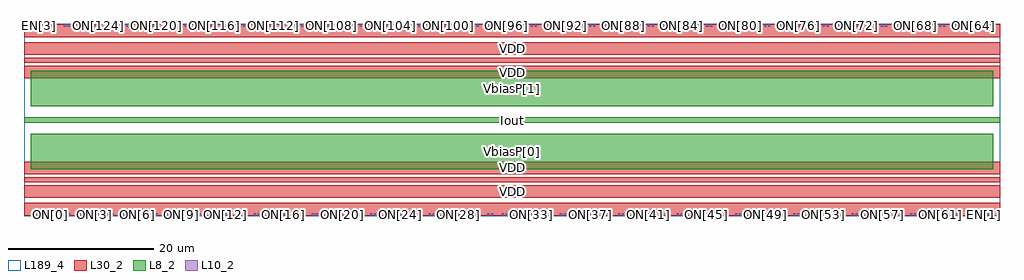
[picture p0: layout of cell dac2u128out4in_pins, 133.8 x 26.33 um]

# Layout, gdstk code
import gdstk
lib = gdstk.Library(unit=1e-6, precision=1e-09)
def R(c, l, rs):  # rectangles x0, y0, x1, y1
    for r in rs: c.add(gdstk.rectangle(r[:2], r[2:], *l))
L8_2 = (8, 2)
L10_2 = (10, 2)
L30_2 = (30, 2)
L189_4 = (189, 4)

dac2u128out4in_pins = lib.new_cell('dac2u128out4in_pins')
R(dac2u128out4in_pins, L8_2, [(0.9,6.31,132.9,11.24), (0,12.745,133.8,13.445), (0.9,14.95,132.9,19.88)])
R(dac2u128out4in_pins, L10_2, [(1.48,0,1.77,0.29), (2.03,0,2.32,0.29), (3.48,0,3.77,0.29), (4.03,0,4.32,0.29), (5.48,0,5.77,0.29), (6.03,0,6.32,0.29), (7.48,0,7.77,0.29), (8.03,0,8.32,0.29), (9.48,0,9.77,0.29), (10.03,0,10.32,0.29), (11.48,0,11.77,0.29), (12.03,0,12.32,0.29), (13.48,0,13.77,0.29), (14.03,0,14.32,0.29), (15.48,0,15.77,0.29), (16.03,0,16.32,0.29), (17.48,0,17.77,0.29), (18.03,0,18.32,0.29), (19.48,0,19.77,0.29), (20.03,0,20.32,0.29), (21.48,0,21.77,0.29), (22.03,0,22.32,0.29), (23.48,0,23.77,0.29), (24.03,0,24.32,0.29), (25.48,0,25.77,0.29), (26.03,0,26.32,0.29), (27.48,0,27.77,0.29), (28.03,0,28.32,0.29), (29.48,0,29.77,0.29), (30.03,0,30.32,0.29), (31.48,0,31.77,0.29), (32.03,0,32.32,0.29), (33.48,0,33.77,0.29), (34.03,0,34.32,0.29), (35.48,0,35.77,0.29), (36.03,0,36.32,0.29), (37.48,0,37.77,0.29), (38.03,0,38.32,0.29), (39.48,0,39.77,0.29), (40.03,0,40.32,0.29), (41.48,0,41.77,0.29), (42.03,0,42.32,0.29), (43.48,0,43.77,0.29), (44.03,0,44.32,0.29), (45.48,0,45.77,0.29), (46.03,0,46.32,0.29), (47.48,0,47.77,0.29), (48.03,0,48.32,0.29), (49.48,0,49.77,0.29), (50.03,0,50.32,0.29), (51.48,0,51.77,0.29), (52.03,0,52.32,0.29), (53.48,0,53.77,0.29), (54.03,0,54.32,0.29), (55.48,0,55.77,0.29), (56.03,0,56.32,0.29), (57.48,0,57.77,0.29), (58.03,0,58.32,0.29), (59.48,0,59.77,0.29), (60.03,0,60.32,0.29), (61.48,0,61.77,0.29), (62.03,0,62.32,0.29), (63.48,0,63.77,0.29), (64.03,0,64.32,0.29), (65.48,0,65.77,0.29), (66.03,0,66.32,0.29), (67.48,0,67.77,0.29), (68.03,0,68.32,0.29), (69.48,0,69.77,0.29), (70.03,0,70.32,0.29), (71.48,0,71.77,0.29), (72.03,0,72.32,0.29), (73.48,0,73.77,0.29), (74.03,0,74.32,0.29), (75.48,0,75.77,0.29), (76.03,0,76.32,0.29), (77.48,0,77.77,0.29), (78.03,0,78.32,0.29), (79.48,0,79.77,0.29), (80.03,0,80.32,0.29), (81.48,0,81.77,0.29), (82.03,0,82.32,0.29), (83.48,0,83.77,0.29), (84.03,0,84.32,0.29), (85.48,0,85.77,0.29), (86.03,0,86.32,0.29), (87.48,0,87.77,0.29), (88.03,0,88.32,0.29), (89.48,0,89.77,0.29), (90.03,0,90.32,0.29), (91.48,0,91.77,0.29), (92.03,0,92.32,0.29), (93.48,0,93.77,0.29), (94.03,0,94.32,0.29), (95.48,0,95.77,0.29), (96.03,0,96.32,0.29), (97.48,0,97.77,0.29), (98.03,0,98.32,0.29), (99.48,0,99.77,0.29), (100.03,0,100.32,0.29), (101.48,0,101.77,0.29), (102.03,0,102.32,0.29), (103.48,0,103.77,0.29), (104.03,0,104.32,0.29), (105.48,0,105.77,0.29), (106.03,0,106.32,0.29), (107.48,0,107.77,0.29), (108.03,0,108.32,0.29), (109.48,0,109.77,0.29), (110.03,0,110.32,0.29), (111.48,0,111.77,0.29), (112.03,0,112.32,0.29), (113.48,0,113.77,0.29), (114.03,0,114.32,0.29), (115.48,0,115.77,0.29), (116.03,0,116.32,0.29), (117.48,0,117.77,0.29), (118.03,0,118.32,0.29), (119.48,0,119.77,0.29), (120.03,0,120.32,0.29), (121.48,0,121.77,0.29), (122.03,0,122.32,0.29), (123.48,0,123.77,0.29), (124.03,0,124.32,0.29), (125.48,0,125.77,0.29), (126.03,0,126.32,0.29), (127.48,0,127.77,0.29), (128.03,0,128.32,0.29), (129.48,0,129.77,0.29), (130.03,0,130.32,0.29), (131.48,0,131.77,0.29), (132.03,0,132.32,0.29), (1.48,25.9,1.77,26.19), (2.03,25.9,2.32,26.19), (3.48,25.9,3.77,26.19), (4.03,25.9,4.32,26.19), (5.48,25.9,5.77,26.19), (6.03,25.9,6.32,26.19), (7.48,25.9,7.77,26.19), (8.03,25.9,8.32,26.19), (9.48,25.9,9.77,26.19), (10.03,25.9,10.32,26.19), (11.48,25.9,11.77,26.19), (12.03,25.9,12.32,26.19), (13.48,25.9,13.77,26.19), (14.03,25.9,14.32,26.19), (15.48,25.9,15.77,26.19), (16.03,25.9,16.32,26.19), (17.48,25.9,17.77,26.19), (18.03,25.9,18.32,26.19), (19.48,25.9,19.77,26.19), (20.03,25.9,20.32,26.19), (21.48,25.9,21.77,26.19), (22.03,25.9,22.32,26.19), (23.48,25.9,23.77,26.19), (24.03,25.9,24.32,26.19), (25.48,25.9,25.77,26.19), (26.03,25.9,26.32,26.19), (27.48,25.9,27.77,26.19), (28.03,25.9,28.32,26.19), (29.48,25.9,29.77,26.19), (30.03,25.9,30.32,26.19), (31.48,25.9,31.77,26.19), (32.03,25.9,32.32,26.19), (33.48,25.9,33.77,26.19), (34.03,25.9,34.32,26.19), (35.48,25.9,35.77,26.19), (36.03,25.9,36.32,26.19), (37.48,25.9,37.77,26.19), (38.03,25.9,38.32,26.19), (39.48,25.9,39.77,26.19), (40.03,25.9,40.32,26.19), (41.48,25.9,41.77,26.19), (42.03,25.9,42.32,26.19), (43.48,25.9,43.77,26.19), (44.03,25.9,44.32,26.19), (45.48,25.9,45.77,26.19), (46.03,25.9,46.32,26.19), (47.48,25.9,47.77,26.19), (48.03,25.9,48.32,26.19), (49.48,25.9,49.77,26.19), (50.03,25.9,50.32,26.19), (51.48,25.9,51.77,26.19), (52.03,25.9,52.32,26.19), (53.48,25.9,53.77,26.19), (54.03,25.9,54.32,26.19), (55.48,25.9,55.77,26.19), (56.03,25.9,56.32,26.19), (57.48,25.9,57.77,26.19), (58.03,25.9,58.32,26.19), (59.48,25.9,59.77,26.19), (60.03,25.9,60.32,26.19), (61.48,25.9,61.77,26.19), (62.03,25.9,62.32,26.19), (63.48,25.9,63.77,26.19), (64.03,25.9,64.32,26.19), (65.48,25.9,65.77,26.19), (66.03,25.9,66.32,26.19), (67.48,25.9,67.77,26.19), (68.03,25.9,68.32,26.19), (69.48,25.9,69.77,26.19), (70.03,25.9,70.32,26.19), (71.48,25.9,71.77,26.19), (72.03,25.9,72.32,26.19), (73.48,25.9,73.77,26.19), (74.03,25.9,74.32,26.19), (75.48,25.9,75.77,26.19), (76.03,25.9,76.32,26.19), (77.48,25.9,77.77,26.19), (78.03,25.9,78.32,26.19), (79.48,25.9,79.77,26.19), (80.03,25.9,80.32,26.19), (81.48,25.9,81.77,26.19), (82.03,25.9,82.32,26.19), (83.48,25.9,83.77,26.19), (84.03,25.9,84.32,26.19), (85.48,25.9,85.77,26.19), (86.03,25.9,86.32,26.19), (87.48,25.9,87.77,26.19), (88.03,25.9,88.32,26.19), (89.48,25.9,89.77,26.19), (90.03,25.9,90.32,26.19), (91.48,25.9,91.77,26.19), (92.03,25.9,92.32,26.19), (93.48,25.9,93.77,26.19), (94.03,25.9,94.32,26.19), (95.48,25.9,95.77,26.19), (96.03,25.9,96.32,26.19), (97.48,25.9,97.77,26.19), (98.03,25.9,98.32,26.19), (99.48,25.9,99.77,26.19), (100.03,25.9,100.32,26.19), (101.48,25.9,101.77,26.19), (102.03,25.9,102.32,26.19), (103.48,25.9,103.77,26.19), (104.03,25.9,104.32,26.19), (105.48,25.9,105.77,26.19), (106.03,25.9,106.32,26.19), (107.48,25.9,107.77,26.19), (108.03,25.9,108.32,26.19), (109.48,25.9,109.77,26.19), (110.03,25.9,110.32,26.19), (111.48,25.9,111.77,26.19), (112.03,25.9,112.32,26.19), (113.48,25.9,113.77,26.19), (114.03,25.9,114.32,26.19), (115.48,25.9,115.77,26.19), (116.03,25.9,116.32,26.19), (117.48,25.9,117.77,26.19), (118.03,25.9,118.32,26.19), (119.48,25.9,119.77,26.19), (120.03,25.9,120.32,26.19), (121.48,25.9,121.77,26.19), (122.03,25.9,122.32,26.19), (123.48,25.9,123.77,26.19), (124.03,25.9,124.32,26.19), (125.48,25.9,125.77,26.19), (126.03,25.9,126.32,26.19), (127.48,25.9,127.77,26.19), (128.03,25.9,128.32,26.19), (129.48,25.9,129.77,26.19), (130.03,25.9,130.32,26.19), (131.48,25.9,131.77,26.19), (132.03,25.9,132.32,26.19)])
R(dac2u128out4in_pins, L30_2, [(0,0,133.8,1.73), (0,2.43,133.8,4.16), (0,4.56,133.8,5.26), (0,5.66,133.8,7.39), (0,18.8,133.8,20.53), (0,20.93,133.8,21.63), (0,22.03,133.8,23.76), (0,24.46,133.8,26.19)])
R(dac2u128out4in_pins, L189_4, [(0,-0.07,133.8,26.26)])
dac2u128out4in_pins.add(gdstk.Label('VbiasP[1]', (66.9,17.415), layer=8, texttype=25))
dac2u128out4in_pins.add(gdstk.Label('Iout', (66.9,13.095), layer=8, texttype=25))
dac2u128out4in_pins.add(gdstk.Label('VbiasP[0]', (66.9,8.775), layer=8, texttype=25))
dac2u128out4in_pins.add(gdstk.Label('ON[64]', (130.175,26.045), layer=10, texttype=25))
dac2u128out4in_pins.add(gdstk.Label('ONB[64]', (129.625,26.045), layer=10, texttype=25))
dac2u128out4in_pins.add(gdstk.Label('ON[65]', (128.175,26.045), layer=10, texttype=25))
dac2u128out4in_pins.add(gdstk.Label('ONB[65]', (127.625,26.045), layer=10, texttype=25))
dac2u128out4in_pins.add(gdstk.Label('ON[66]', (126.175,26.045), layer=10, texttype=25))
dac2u128out4in_pins.add(gdstk.Label('ONB[66]', (125.625,26.045), layer=10, texttype=25))
dac2u128out4in_pins.add(gdstk.Label('ON[67]', (124.175,26.045), layer=10, texttype=25))
dac2u128out4in_pins.add(gdstk.Label('ONB[67]', (123.625,26.045), layer=10, texttype=25))
dac2u128out4in_pins.add(gdstk.Label('ON[68]', (122.175,26.045), layer=10, texttype=25))
dac2u128out4in_pins.add(gdstk.Label('ONB[68]', (121.625,26.045), layer=10, texttype=25))
dac2u128out4in_pins.add(gdstk.Label('ON[69]', (120.175,26.045), layer=10, texttype=25))
dac2u128out4in_pins.add(gdstk.Label('ONB[69]', (119.625,26.045), layer=10, texttype=25))
dac2u128out4in_pins.add(gdstk.Label('ON[70]', (118.175,26.045), layer=10, texttype=25))
dac2u128out4in_pins.add(gdstk.Label('ONB[70]', (117.625,26.045), layer=10, texttype=25))
dac2u128out4in_pins.add(gdstk.Label('ON[71]', (116.175,26.045), layer=10, texttype=25))
dac2u128out4in_pins.add(gdstk.Label('ONB[71]', (115.625,26.045), layer=10, texttype=25))
dac2u128out4in_pins.add(gdstk.Label('ON[72]', (114.175,26.045), layer=10, texttype=25))
dac2u128out4in_pins.add(gdstk.Label('ONB[72]', (113.625,26.045), layer=10, texttype=25))
dac2u128out4in_pins.add(gdstk.Label('EN[2]', (132.175,26.045), layer=10, texttype=25))
dac2u128out4in_pins.add(gdstk.Label('ENB[2]', (131.625,26.045), layer=10, texttype=25))
dac2u128out4in_pins.add(gdstk.Label('ON[73]', (112.175,26.045), layer=10, texttype=25))
dac2u128out4in_pins.add(gdstk.Label('ONB[73]', (111.625,26.045), layer=10, texttype=25))
dac2u128out4in_pins.add(gdstk.Label('ON[74]', (110.175,26.045), layer=10, texttype=25))
dac2u128out4in_pins.add(gdstk.Label('ONB[74]', (109.625,26.045), layer=10, texttype=25))
dac2u128out4in_pins.add(gdstk.Label('ON[75]', (108.175,26.045), layer=10, texttype=25))
dac2u128out4in_pins.add(gdstk.Label('ONB[75]', (107.625,26.045), layer=10, texttype=25))
dac2u128out4in_pins.add(gdstk.Label('ON[76]', (106.175,26.045), layer=10, texttype=25))
dac2u128out4in_pins.add(gdstk.Label('ONB[76]', (105.625,26.045), layer=10, texttype=25))
dac2u128out4in_pins.add(gdstk.Label('ON[77]', (104.175,26.045), layer=10, texttype=25))
dac2u128out4in_pins.add(gdstk.Label('ONB[77]', (103.625,26.045), layer=10, texttype=25))
dac2u128out4in_pins.add(gdstk.Label('ON[78]', (102.175,26.045), layer=10, texttype=25))
dac2u128out4in_pins.add(gdstk.Label('ONB[78]', (101.625,26.045), layer=10, texttype=25))
dac2u128out4in_pins.add(gdstk.Label('ON[79]', (100.175,26.045), layer=10, texttype=25))
dac2u128out4in_pins.add(gdstk.Label('ONB[79]', (99.625,26.045), layer=10, texttype=25))
dac2u128out4in_pins.add(gdstk.Label('ON[80]', (98.175,26.045), layer=10, texttype=25))
dac2u128out4in_pins.add(gdstk.Label('ONB[80]', (97.625,26.045), layer=10, texttype=25))
dac2u128out4in_pins.add(gdstk.Label('ON[81]', (96.175,26.045), layer=10, texttype=25))
dac2u128out4in_pins.add(gdstk.Label('ONB[81]', (95.625,26.045), layer=10, texttype=25))
dac2u128out4in_pins.add(gdstk.Label('ON[82]', (94.175,26.045), layer=10, texttype=25))
dac2u128out4in_pins.add(gdstk.Label('ONB[82]', (93.625,26.045), layer=10, texttype=25))
dac2u128out4in_pins.add(gdstk.Label('ON[83]', (92.175,26.045), layer=10, texttype=25))
dac2u128out4in_pins.add(gdstk.Label('ONB[83]', (91.625,26.045), layer=10, texttype=25))
dac2u128out4in_pins.add(gdstk.Label('ON[84]', (90.175,26.045), layer=10, texttype=25))
dac2u128out4in_pins.add(gdstk.Label('ONB[84]', (89.625,26.045), layer=10, texttype=25))
dac2u128out4in_pins.add(gdstk.Label('ON[85]', (88.175,26.045), layer=10, texttype=25))
dac2u128out4in_pins.add(gdstk.Label('ONB[85]', (87.625,26.045), layer=10, texttype=25))
dac2u128out4in_pins.add(gdstk.Label('ON[86]', (86.175,26.045), layer=10, texttype=25))
dac2u128out4in_pins.add(gdstk.Label('ONB[86]', (85.625,26.045), layer=10, texttype=25))
dac2u128out4in_pins.add(gdstk.Label('ON[87]', (84.175,26.045), layer=10, texttype=25))
dac2u128out4in_pins.add(gdstk.Label('ONB[87]', (83.625,26.045), layer=10, texttype=25))
dac2u128out4in_pins.add(gdstk.Label('ON[88]', (82.175,26.045), layer=10, texttype=25))
dac2u128out4in_pins.add(gdstk.Label('ONB[88]', (81.625,26.045), layer=10, texttype=25))
dac2u128out4in_pins.add(gdstk.Label('ON[89]', (80.175,26.045), layer=10, texttype=25))
dac2u128out4in_pins.add(gdstk.Label('ONB[89]', (79.625,26.045), layer=10, texttype=25))
dac2u128out4in_pins.add(gdstk.Label('ON[90]', (78.175,26.045), layer=10, texttype=25))
dac2u128out4in_pins.add(gdstk.Label('ONB[90]', (77.625,26.045), layer=10, texttype=25))
dac2u128out4in_pins.add(gdstk.Label('ON[91]', (76.175,26.045), layer=10, texttype=25))
dac2u128out4in_pins.add(gdstk.Label('ONB[91]', (75.625,26.045), layer=10, texttype=25))
dac2u128out4in_pins.add(gdstk.Label('ON[92]', (74.175,26.045), layer=10, texttype=25))
dac2u128out4in_pins.add(gdstk.Label('ONB[92]', (73.625,26.045), layer=10, texttype=25))
dac2u128out4in_pins.add(gdstk.Label('ON[93]', (72.175,26.045), layer=10, texttype=25))
dac2u128out4in_pins.add(gdstk.Label('ONB[93]', (71.625,26.045), layer=10, texttype=25))
dac2u128out4in_pins.add(gdstk.Label('ON[94]', (70.175,26.045), layer=10, texttype=25))
dac2u128out4in_pins.add(gdstk.Label('ONB[94]', (69.625,26.045), layer=10, texttype=25))
dac2u128out4in_pins.add(gdstk.Label('ON[95]', (68.175,26.045), layer=10, texttype=25))
dac2u128out4in_pins.add(gdstk.Label('ONB[95]', (67.625,26.045), layer=10, texttype=25))
dac2u128out4in_pins.add(gdstk.Label('ON[96]', (66.175,26.045), layer=10, texttype=25))
dac2u128out4in_pins.add(gdstk.Label('ONB[96]', (65.625,26.045), layer=10, texttype=25))
dac2u128out4in_pins.add(gdstk.Label('ON[97]', (64.175,26.045), layer=10, texttype=25))
dac2u128out4in_pins.add(gdstk.Label('ONB[97]', (63.625,26.045), layer=10, texttype=25))
dac2u128out4in_pins.add(gdstk.Label('ON[98]', (62.175,26.045), layer=10, texttype=25))
dac2u128out4in_pins.add(gdstk.Label('ONB[98]', (61.625,26.045), layer=10, texttype=25))
dac2u128out4in_pins.add(gdstk.Label('ON[99]', (60.175,26.045), layer=10, texttype=25))
dac2u128out4in_pins.add(gdstk.Label('ONB[99]', (59.625,26.045), layer=10, texttype=25))
dac2u128out4in_pins.add(gdstk.Label('ON[100]', (58.175,26.045), layer=10, texttype=25))
dac2u128out4in_pins.add(gdstk.Label('ONB[100]', (57.625,26.045), layer=10, texttype=25))
dac2u128out4in_pins.add(gdstk.Label('ON[101]', (56.175,26.045), layer=10, texttype=25))
dac2u128out4in_pins.add(gdstk.Label('ONB[101]', (55.625,26.045), layer=10, texttype=25))
dac2u128out4in_pins.add(gdstk.Label('ON[102]', (54.175,26.045), layer=10, texttype=25))
dac2u128out4in_pins.add(gdstk.Label('ONB[102]', (53.625,26.045), layer=10, texttype=25))
dac2u128out4in_pins.add(gdstk.Label('ON[103]', (52.175,26.045), layer=10, texttype=25))
dac2u128out4in_pins.add(gdstk.Label('ONB[103]', (51.625,26.045), layer=10, texttype=25))
dac2u128out4in_pins.add(gdstk.Label('ON[104]', (50.175,26.045), layer=10, texttype=25))
dac2u128out4in_pins.add(gdstk.Label('ONB[104]', (49.625,26.045), layer=10, texttype=25))
dac2u128out4in_pins.add(gdstk.Label('ON[105]', (48.175,26.045), layer=10, texttype=25))
dac2u128out4in_pins.add(gdstk.Label('ONB[105]', (47.625,26.045), layer=10, texttype=25))
dac2u128out4in_pins.add(gdstk.Label('ON[106]', (46.175,26.045), layer=10, texttype=25))
dac2u128out4in_pins.add(gdstk.Label('ONB[106]', (45.625,26.045), layer=10, texttype=25))
dac2u128out4in_pins.add(gdstk.Label('ON[107]', (44.175,26.045), layer=10, texttype=25))
dac2u128out4in_pins.add(gdstk.Label('ONB[107]', (43.625,26.045), layer=10, texttype=25))
dac2u128out4in_pins.add(gdstk.Label('ON[108]', (42.175,26.045), layer=10, texttype=25))
dac2u128out4in_pins.add(gdstk.Label('ONB[108]', (41.625,26.045), layer=10, texttype=25))
dac2u128out4in_pins.add(gdstk.Label('ON[109]', (40.175,26.045), layer=10, texttype=25))
dac2u128out4in_pins.add(gdstk.Label('ONB[109]', (39.625,26.045), layer=10, texttype=25))
dac2u128out4in_pins.add(gdstk.Label('ON[110]', (38.175,26.045), layer=10, texttype=25))
dac2u128out4in_pins.add(gdstk.Label('ONB[110]', (37.625,26.045), layer=10, texttype=25))
dac2u128out4in_pins.add(gdstk.Label('ON[111]', (36.175,26.045), layer=10, texttype=25))
dac2u128out4in_pins.add(gdstk.Label('ONB[111]', (35.625,26.045), layer=10, texttype=25))
dac2u128out4in_pins.add(gdstk.Label('ON[112]', (34.175,26.045), layer=10, texttype=25))
dac2u128out4in_pins.add(gdstk.Label('ONB[112]', (33.625,26.045), layer=10, texttype=25))
dac2u128out4in_pins.add(gdstk.Label('ON[113]', (32.175,26.045), layer=10, texttype=25))
dac2u128out4in_pins.add(gdstk.Label('ONB[113]', (31.625,26.045), layer=10, texttype=25))
dac2u128out4in_pins.add(gdstk.Label('ON[114]', (30.175,26.045), layer=10, texttype=25))
dac2u128out4in_pins.add(gdstk.Label('ONB[114]', (29.625,26.045), layer=10, texttype=25))
dac2u128out4in_pins.add(gdstk.Label('ON[115]', (28.175,26.045), layer=10, texttype=25))
dac2u128out4in_pins.add(gdstk.Label('ONB[115]', (27.625,26.045), layer=10, texttype=25))
dac2u128out4in_pins.add(gdstk.Label('ON[116]', (26.175,26.045), layer=10, texttype=25))
dac2u128out4in_pins.add(gdstk.Label('ONB[116]', (25.625,26.045), layer=10, texttype=25))
dac2u128out4in_pins.add(gdstk.Label('ON[117]', (24.175,26.045), layer=10, texttype=25))
dac2u128out4in_pins.add(gdstk.Label('ONB[117]', (23.625,26.045), layer=10, texttype=25))
dac2u128out4in_pins.add(gdstk.Label('ON[118]', (22.175,26.045), layer=10, texttype=25))
dac2u128out4in_pins.add(gdstk.Label('ONB[118]', (21.625,26.045), layer=10, texttype=25))
dac2u128out4in_pins.add(gdstk.Label('ON[119]', (20.175,26.045), layer=10, texttype=25))
dac2u128out4in_pins.add(gdstk.Label('ONB[119]', (19.625,26.045), layer=10, texttype=25))
dac2u128out4in_pins.add(gdstk.Label('ON[120]', (18.175,26.045), layer=10, texttype=25))
dac2u128out4in_pins.add(gdstk.Label('ONB[120]', (17.625,26.045), layer=10, texttype=25))
dac2u128out4in_pins.add(gdstk.Label('ON[121]', (16.175,26.045), layer=10, texttype=25))
dac2u128out4in_pins.add(gdstk.Label('ONB[121]', (15.625,26.045), layer=10, texttype=25))
dac2u128out4in_pins.add(gdstk.Label('ON[122]', (14.175,26.045), layer=10, texttype=25))
dac2u128out4in_pins.add(gdstk.Label('ONB[122]', (13.625,26.045), layer=10, texttype=25))
dac2u128out4in_pins.add(gdstk.Label('EN[3]', (2.175,26.045), layer=10, texttype=25))
dac2u128out4in_pins.add(gdstk.Label('ENB[3]', (1.625,26.045), layer=10, texttype=25))
dac2u128out4in_pins.add(gdstk.Label('ON[123]', (12.175,26.045), layer=10, texttype=25))
dac2u128out4in_pins.add(gdstk.Label('ONB[123]', (11.625,26.045), layer=10, texttype=25))
dac2u128out4in_pins.add(gdstk.Label('ON[124]', (10.175,26.045), layer=10, texttype=25))
dac2u128out4in_pins.add(gdstk.Label('ONB[124]', (9.625,26.045), layer=10, texttype=25))
dac2u128out4in_pins.add(gdstk.Label('ON[125]', (8.175,26.045), layer=10, texttype=25))
dac2u128out4in_pins.add(gdstk.Label('ONB[125]', (7.625,26.045), layer=10, texttype=25))
dac2u128out4in_pins.add(gdstk.Label('ON[126]', (6.175,26.045), layer=10, texttype=25))
dac2u128out4in_pins.add(gdstk.Label('ONB[126]', (5.625,26.045), layer=10, texttype=25))
dac2u128out4in_pins.add(gdstk.Label('ON[127]', (4.175,26.045), layer=10, texttype=25))
dac2u128out4in_pins.add(gdstk.Label('ONB[127]', (3.625,26.045), layer=10, texttype=25))
dac2u128out4in_pins.add(gdstk.Label('ON[0]', (3.625,0.145), layer=10, texttype=25))
dac2u128out4in_pins.add(gdstk.Label('ONB[0]', (4.175,0.145), layer=10, texttype=25))
dac2u128out4in_pins.add(gdstk.Label('ON[1]', (5.625,0.145), layer=10, texttype=25))
dac2u128out4in_pins.add(gdstk.Label('ONB[1]', (6.175,0.145), layer=10, texttype=25))
dac2u128out4in_pins.add(gdstk.Label('ON[2]', (7.625,0.145), layer=10, texttype=25))
dac2u128out4in_pins.add(gdstk.Label('ONB[2]', (8.175,0.145), layer=10, texttype=25))
dac2u128out4in_pins.add(gdstk.Label('ON[3]', (9.625,0.145), layer=10, texttype=25))
dac2u128out4in_pins.add(gdstk.Label('ONB[3]', (10.175,0.145), layer=10, texttype=25))
dac2u128out4in_pins.add(gdstk.Label('ON[4]', (11.625,0.145), layer=10, texttype=25))
dac2u128out4in_pins.add(gdstk.Label('ONB[4]', (12.175,0.145), layer=10, texttype=25))
dac2u128out4in_pins.add(gdstk.Label('ON[5]', (13.625,0.145), layer=10, texttype=25))
dac2u128out4in_pins.add(gdstk.Label('ONB[5]', (14.175,0.145), layer=10, texttype=25))
dac2u128out4in_pins.add(gdstk.Label('ON[6]', (15.625,0.145), layer=10, texttype=25))
dac2u128out4in_pins.add(gdstk.Label('EN[0]', (1.625,0.145), layer=10, texttype=25))
dac2u128out4in_pins.add(gdstk.Label('ENB[0]', (2.175,0.145), layer=10, texttype=25))
dac2u128out4in_pins.add(gdstk.Label('ONB[6]', (16.175,0.145), layer=10, texttype=25))
dac2u128out4in_pins.add(gdstk.Label('ON[7]', (17.625,0.145), layer=10, texttype=25))
dac2u128out4in_pins.add(gdstk.Label('ONB[7]', (18.175,0.145), layer=10, texttype=25))
dac2u128out4in_pins.add(gdstk.Label('ON[8]', (19.625,0.145), layer=10, texttype=25))
dac2u128out4in_pins.add(gdstk.Label('ONB[8]', (20.175,0.145), layer=10, texttype=25))
dac2u128out4in_pins.add(gdstk.Label('ON[9]', (21.625,0.145), layer=10, texttype=25))
dac2u128out4in_pins.add(gdstk.Label('ONB[9]', (22.175,0.145), layer=10, texttype=25))
dac2u128out4in_pins.add(gdstk.Label('ON[10]', (23.625,0.145), layer=10, texttype=25))
dac2u128out4in_pins.add(gdstk.Label('ONB[10]', (24.175,0.145), layer=10, texttype=25))
dac2u128out4in_pins.add(gdstk.Label('ON[11]', (25.625,0.145), layer=10, texttype=25))
dac2u128out4in_pins.add(gdstk.Label('ONB[11]', (26.175,0.145), layer=10, texttype=25))
dac2u128out4in_pins.add(gdstk.Label('ON[12]', (27.625,0.145), layer=10, texttype=25))
dac2u128out4in_pins.add(gdstk.Label('ONB[12]', (28.175,0.145), layer=10, texttype=25))
dac2u128out4in_pins.add(gdstk.Label('ON[13]', (29.625,0.145), layer=10, texttype=25))
dac2u128out4in_pins.add(gdstk.Label('ONB[13]', (30.175,0.145), layer=10, texttype=25))
dac2u128out4in_pins.add(gdstk.Label('ON[14]', (31.625,0.145), layer=10, texttype=25))
dac2u128out4in_pins.add(gdstk.Label('ONB[14]', (32.175,0.145), layer=10, texttype=25))
dac2u128out4in_pins.add(gdstk.Label('ON[15]', (33.625,0.145), layer=10, texttype=25))
dac2u128out4in_pins.add(gdstk.Label('ONB[15]', (34.175,0.145), layer=10, texttype=25))
dac2u128out4in_pins.add(gdstk.Label('ON[16]', (35.625,0.145), layer=10, texttype=25))
dac2u128out4in_pins.add(gdstk.Label('ONB[16]', (36.175,0.145), layer=10, texttype=25))
dac2u128out4in_pins.add(gdstk.Label('ON[17]', (37.625,0.145), layer=10, texttype=25))
dac2u128out4in_pins.add(gdstk.Label('ONB[17]', (38.175,0.145), layer=10, texttype=25))
dac2u128out4in_pins.add(gdstk.Label('ON[18]', (39.625,0.145), layer=10, texttype=25))
dac2u128out4in_pins.add(gdstk.Label('ONB[18]', (40.175,0.145), layer=10, texttype=25))
dac2u128out4in_pins.add(gdstk.Label('ON[19]', (41.625,0.145), layer=10, texttype=25))
dac2u128out4in_pins.add(gdstk.Label('ONB[19]', (42.175,0.145), layer=10, texttype=25))
dac2u128out4in_pins.add(gdstk.Label('ON[20]', (43.625,0.145), layer=10, texttype=25))
dac2u128out4in_pins.add(gdstk.Label('ONB[20]', (44.175,0.145), layer=10, texttype=25))
dac2u128out4in_pins.add(gdstk.Label('ON[21]', (45.625,0.145), layer=10, texttype=25))
dac2u128out4in_pins.add(gdstk.Label('ONB[21]', (46.175,0.145), layer=10, texttype=25))
dac2u128out4in_pins.add(gdstk.Label('ON[22]', (47.625,0.145), layer=10, texttype=25))
dac2u128out4in_pins.add(gdstk.Label('ONB[22]', (48.175,0.145), layer=10, texttype=25))
dac2u128out4in_pins.add(gdstk.Label('ON[23]', (49.625,0.145), layer=10, texttype=25))
dac2u128out4in_pins.add(gdstk.Label('ONB[23]', (50.175,0.145), layer=10, texttype=25))
dac2u128out4in_pins.add(gdstk.Label('ON[24]', (51.625,0.145), layer=10, texttype=25))
dac2u128out4in_pins.add(gdstk.Label('ONB[24]', (52.175,0.145), layer=10, texttype=25))
dac2u128out4in_pins.add(gdstk.Label('ON[25]', (53.625,0.145), layer=10, texttype=25))
dac2u128out4in_pins.add(gdstk.Label('ONB[25]', (54.175,0.145), layer=10, texttype=25))
dac2u128out4in_pins.add(gdstk.Label('ON[26]', (55.625,0.145), layer=10, texttype=25))
dac2u128out4in_pins.add(gdstk.Label('ONB[26]', (56.175,0.145), layer=10, texttype=25))
dac2u128out4in_pins.add(gdstk.Label('ON[27]', (57.625,0.145), layer=10, texttype=25))
dac2u128out4in_pins.add(gdstk.Label('ONB[27]', (58.175,0.145), layer=10, texttype=25))
dac2u128out4in_pins.add(gdstk.Label('ON[28]', (59.625,0.145), layer=10, texttype=25))
dac2u128out4in_pins.add(gdstk.Label('ONB[28]', (60.175,0.145), layer=10, texttype=25))
dac2u128out4in_pins.add(gdstk.Label('ON[29]', (61.625,0.145), layer=10, texttype=25))
dac2u128out4in_pins.add(gdstk.Label('ONB[29]', (62.175,0.145), layer=10, texttype=25))
dac2u128out4in_pins.add(gdstk.Label('ON[30]', (63.625,0.145), layer=10, texttype=25))
dac2u128out4in_pins.add(gdstk.Label('ONB[30]', (64.175,0.145), layer=10, texttype=25))
dac2u128out4in_pins.add(gdstk.Label('ON[31]', (65.625,0.145), layer=10, texttype=25))
dac2u128out4in_pins.add(gdstk.Label('ONB[31]', (66.175,0.145), layer=10, texttype=25))
dac2u128out4in_pins.add(gdstk.Label('ON[33]', (69.625,0.145), layer=10, texttype=25))
dac2u128out4in_pins.add(gdstk.Label('ONB[33]', (70.175,0.145), layer=10, texttype=25))
dac2u128out4in_pins.add(gdstk.Label('ON[32]', (67.625,0.145), layer=10, texttype=25))
dac2u128out4in_pins.add(gdstk.Label('ONB[32]', (68.175,0.145), layer=10, texttype=25))
dac2u128out4in_pins.add(gdstk.Label('ON[34]', (71.625,0.145), layer=10, texttype=25))
dac2u128out4in_pins.add(gdstk.Label('ONB[34]', (72.175,0.145), layer=10, texttype=25))
dac2u128out4in_pins.add(gdstk.Label('ON[35]', (73.625,0.145), layer=10, texttype=25))
dac2u128out4in_pins.add(gdstk.Label('ONB[35]', (74.175,0.145), layer=10, texttype=25))
dac2u128out4in_pins.add(gdstk.Label('ON[36]', (75.625,0.145), layer=10, texttype=25))
dac2u128out4in_pins.add(gdstk.Label('ONB[36]', (76.175,0.145), layer=10, texttype=25))
dac2u128out4in_pins.add(gdstk.Label('ON[37]', (77.625,0.145), layer=10, texttype=25))
dac2u128out4in_pins.add(gdstk.Label('ONB[37]', (78.175,0.145), layer=10, texttype=25))
dac2u128out4in_pins.add(gdstk.Label('ON[38]', (79.625,0.145), layer=10, texttype=25))
dac2u128out4in_pins.add(gdstk.Label('ONB[38]', (80.175,0.145), layer=10, texttype=25))
dac2u128out4in_pins.add(gdstk.Label('ON[39]', (81.625,0.145), layer=10, texttype=25))
dac2u128out4in_pins.add(gdstk.Label('ONB[39]', (82.175,0.145), layer=10, texttype=25))
dac2u128out4in_pins.add(gdstk.Label('ON[40]', (83.625,0.145), layer=10, texttype=25))
dac2u128out4in_pins.add(gdstk.Label('ONB[40]', (84.175,0.145), layer=10, texttype=25))
dac2u128out4in_pins.add(gdstk.Label('ON[41]', (85.625,0.145), layer=10, texttype=25))
dac2u128out4in_pins.add(gdstk.Label('ONB[41]', (86.175,0.145), layer=10, texttype=25))
dac2u128out4in_pins.add(gdstk.Label('ON[42]', (87.625,0.145), layer=10, texttype=25))
dac2u128out4in_pins.add(gdstk.Label('ONB[42]', (88.175,0.145), layer=10, texttype=25))
dac2u128out4in_pins.add(gdstk.Label('ON[43]', (89.625,0.145), layer=10, texttype=25))
dac2u128out4in_pins.add(gdstk.Label('ONB[43]', (90.175,0.145), layer=10, texttype=25))
dac2u128out4in_pins.add(gdstk.Label('ON[44]', (91.625,0.145), layer=10, texttype=25))
dac2u128out4in_pins.add(gdstk.Label('ONB[44]', (92.175,0.145), layer=10, texttype=25))
dac2u128out4in_pins.add(gdstk.Label('ON[45]', (93.625,0.145), layer=10, texttype=25))
dac2u128out4in_pins.add(gdstk.Label('ONB[45]', (94.175,0.145), layer=10, texttype=25))
dac2u128out4in_pins.add(gdstk.Label('ON[46]', (95.625,0.145), layer=10, texttype=25))
dac2u128out4in_pins.add(gdstk.Label('ONB[46]', (96.175,0.145), layer=10, texttype=25))
dac2u128out4in_pins.add(gdstk.Label('ON[47]', (97.625,0.145), layer=10, texttype=25))
dac2u128out4in_pins.add(gdstk.Label('ONB[47]', (98.175,0.145), layer=10, texttype=25))
dac2u128out4in_pins.add(gdstk.Label('ON[48]', (99.625,0.145), layer=10, texttype=25))
dac2u128out4in_pins.add(gdstk.Label('ONB[48]', (100.175,0.145), layer=10, texttype=25))
dac2u128out4in_pins.add(gdstk.Label('ON[49]', (101.625,0.145), layer=10, texttype=25))
dac2u128out4in_pins.add(gdstk.Label('ONB[49]', (102.175,0.145), layer=10, texttype=25))
dac2u128out4in_pins.add(gdstk.Label('ON[50]', (103.625,0.145), layer=10, texttype=25))
dac2u128out4in_pins.add(gdstk.Label('ONB[50]', (104.175,0.145), layer=10, texttype=25))
dac2u128out4in_pins.add(gdstk.Label('ON[51]', (105.625,0.145), layer=10, texttype=25))
dac2u128out4in_pins.add(gdstk.Label('ONB[51]', (106.175,0.145), layer=10, texttype=25))
dac2u128out4in_pins.add(gdstk.Label('ON[52]', (107.625,0.145), layer=10, texttype=25))
dac2u128out4in_pins.add(gdstk.Label('ONB[52]', (108.175,0.145), layer=10, texttype=25))
dac2u128out4in_pins.add(gdstk.Label('ON[53]', (109.625,0.145), layer=10, texttype=25))
dac2u128out4in_pins.add(gdstk.Label('ONB[53]', (110.175,0.145), layer=10, texttype=25))
dac2u128out4in_pins.add(gdstk.Label('ON[54]', (111.625,0.145), layer=10, texttype=25))
dac2u128out4in_pins.add(gdstk.Label('ONB[54]', (112.175,0.145), layer=10, texttype=25))
dac2u128out4in_pins.add(gdstk.Label('ON[55]', (113.625,0.145), layer=10, texttype=25))
dac2u128out4in_pins.add(gdstk.Label('ONB[55]', (114.175,0.145), layer=10, texttype=25))
dac2u128out4in_pins.add(gdstk.Label('ON[56]', (115.625,0.145), layer=10, texttype=25))
dac2u128out4in_pins.add(gdstk.Label('ONB[56]', (116.175,0.145), layer=10, texttype=25))
dac2u128out4in_pins.add(gdstk.Label('ON[57]', (117.625,0.145), layer=10, texttype=25))
dac2u128out4in_pins.add(gdstk.Label('ONB[57]', (118.175,0.145), layer=10, texttype=25))
dac2u128out4in_pins.add(gdstk.Label('ON[58]', (119.625,0.145), layer=10, texttype=25))
dac2u128out4in_pins.add(gdstk.Label('ONB[58]', (120.175,0.145), layer=10, texttype=25))
dac2u128out4in_pins.add(gdstk.Label('ON[59]', (121.625,0.145), layer=10, texttype=25))
dac2u128out4in_pins.add(gdstk.Label('ONB[59]', (122.175,0.145), layer=10, texttype=25))
dac2u128out4in_pins.add(gdstk.Label('ON[60]', (123.625,0.145), layer=10, texttype=25))
dac2u128out4in_pins.add(gdstk.Label('ONB[60]', (124.175,0.145), layer=10, texttype=25))
dac2u128out4in_pins.add(gdstk.Label('ON[61]', (125.625,0.145), layer=10, texttype=25))
dac2u128out4in_pins.add(gdstk.Label('ONB[61]', (126.175,0.145), layer=10, texttype=25))
dac2u128out4in_pins.add(gdstk.Label('ON[62]', (127.625,0.145), layer=10, texttype=25))
dac2u128out4in_pins.add(gdstk.Label('ONB[62]', (128.175,0.145), layer=10, texttype=25))
dac2u128out4in_pins.add(gdstk.Label('ON[63]', (129.625,0.145), layer=10, texttype=25))
dac2u128out4in_pins.add(gdstk.Label('ONB[63]', (130.175,0.145), layer=10, texttype=25))
dac2u128out4in_pins.add(gdstk.Label('EN[1]', (131.625,0.145), layer=10, texttype=25))
dac2u128out4in_pins.add(gdstk.Label('ENB[1]', (132.175,0.145), layer=10, texttype=25))
dac2u128out4in_pins.add(gdstk.Label('VSS', (66.9,0.865), layer=30, texttype=25))
dac2u128out4in_pins.add(gdstk.Label('VSS', (66.9,25.325), layer=30, texttype=25))
dac2u128out4in_pins.add(gdstk.Label('VDD', (66.9,3.295), layer=30, texttype=25))
dac2u128out4in_pins.add(gdstk.Label('VDD', (66.9,6.525), layer=30, texttype=25))
dac2u128out4in_pins.add(gdstk.Label('VDD', (66.9,22.895), layer=30, texttype=25))
dac2u128out4in_pins.add(gdstk.Label('VDD', (66.9,19.665), layer=30, texttype=25))
dac2u128out4in_pins.add(gdstk.Label('VcascP[1]', (66.9,21.28), layer=30, texttype=25))
dac2u128out4in_pins.add(gdstk.Label('VcascP[0]', (66.9,4.91), layer=30, texttype=25))

lib.write_gds('dac2u128out4in_pins.gds')
